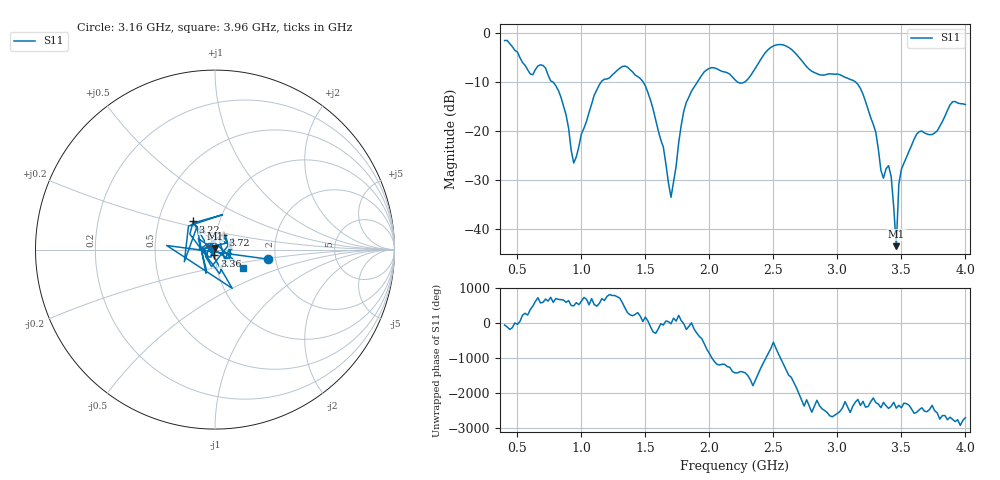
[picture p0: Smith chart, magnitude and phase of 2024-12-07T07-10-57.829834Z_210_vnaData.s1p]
!Created with skrf (http://scikit-rf.org).
# Hz S RI R 50.0
!freq ReS11 ImS11
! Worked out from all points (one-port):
!   181 points, 400 MHz to 4 GHz, reference 50 ohm
!   lowest |S11| = -43.5 dB at 3.46 GHz (marker M1), VSWR 1.01, Z = 49.9 + j0.659 ohm
!   |S11| at or under -10 dB: 772.6 MHz to 1.156 GHz (383.5 MHz wide, 39.8 % of centre); 1.481 GHz to 1.907 GHz (425.9 MHz wide, 25.1 % of centre); 3.14 GHz to end of sweep (the widest 3 of 4)
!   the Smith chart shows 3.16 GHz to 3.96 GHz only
!   S11 on the Smith chart (normalised r, x): 3.16 GHz: 1.81, -0.21; 3.22 GHz: 0.75, +0.24; 3.36 GHz: 0.99, -0.07; 3.72 GHz: 1.07, +0.18; 3.96 GHz: 1.34, -0.29
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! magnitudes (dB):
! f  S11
! 400 MHz  -1.6
! 600 MHz  -8.4
! 720 MHz  -7.2
! 860 MHz  -15.0
! 940 MHz  -26.5
! 1.12 GHz  -11.7
! 1.3 GHz  -7.3
! 1.5 GHz  -10.9
! 1.64 GHz  -23.3
! 1.7 GHz  -33.5
! 1.76 GHz  -22.4
! 1.82 GHz  -14.2
! 1.96 GHz  -8.0
! 2.2 GHz  -9.6
! 2.5 GHz  -2.7
! 2.66 GHz  -3.9
! 3.1 GHz  -9.5
! 3.16 GHz  -10.5
! 3.22 GHz  -14.0
! 3.3 GHz  -20.3
! 3.36 GHz  -29.6
! 3.42 GHz  -29.3
! 3.46 GHz  -43.5
! 3.48 GHz  -30.8
! 3.56 GHz  -24.1
! 3.72 GHz  -20.8
! 3.96 GHz  -14.5
! 4 GHz  -14.6
